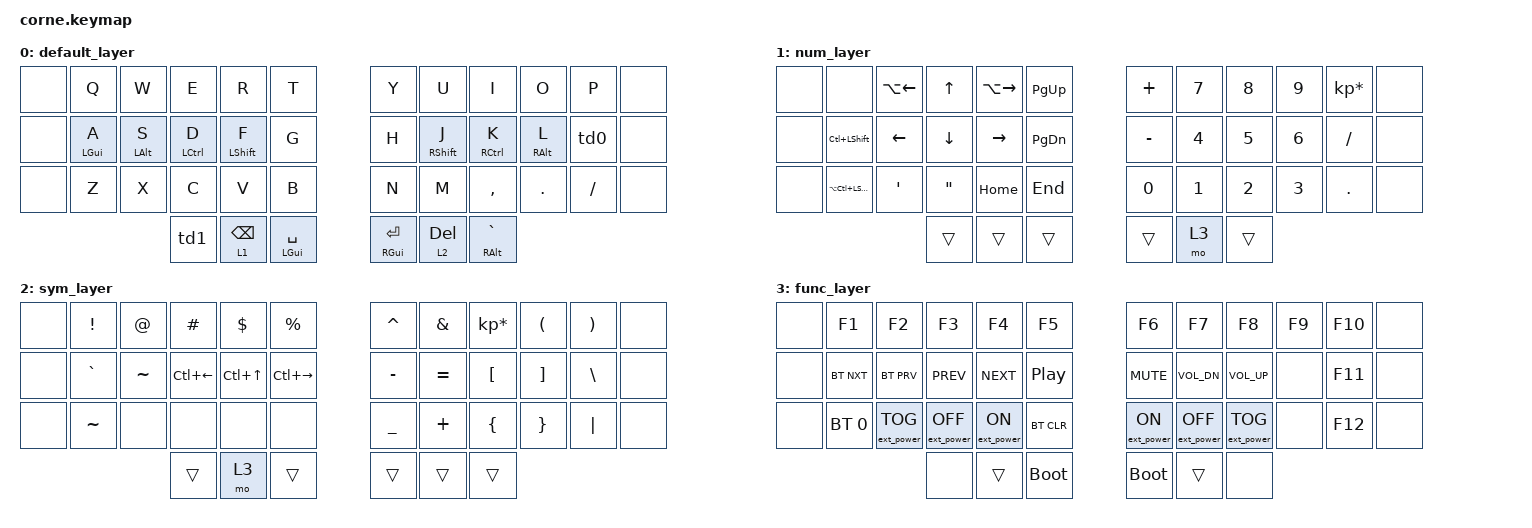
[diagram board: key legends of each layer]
/*
 * Copyright (c) 2020 The ZMK Contributors
 *
 * SPDX-License-Identifier: MIT
 */

#include <behaviors.dtsi>
#include <dt-bindings/zmk/bt.h>
#include <dt-bindings/zmk/ext_power.h>
#include <dt-bindings/zmk/keys.h>

// LAYERS

#define DEFAULT 0
#define NUM     1
#define SYM     2
#define FUNC    3

// MACROS

#define SUPER LC(LSHIFT)
#define SUPER2 LA(LC(LSHIFT))

&mt {
    tapping-term-ms = <200>;
    flavor = "tap-preferred";
};

/ {
    behaviors {
        hm: homerow_mods {
            compatible = "zmk,behavior-hold-tap";
            label = "HOMEROW_MODS";
            #binding-cells = <2>;
            tapping-term-ms = <200>;
            quick-tap-ms = <0>;
            flavor = "tap-preferred";
            bindings = <&kp>, <&kp>;
        };

        td0: tap_dance_0 {
            compatible = "zmk,behavior-tap-dance";
            label = "TAP_DANCE_0";
            #binding-cells = <0>;
            tapping-term-ms = <200>;
            bindings = <&hm RGUI SEMI>, <&kp SQT>;
        };

        td1: tap_dance_1 {
            compatible = "zmk,behavior-tap-dance";
            label = "TAP_DANCE_1";
            #binding-cells = <0>;
            tapping-term-ms = <200>;
            bindings = <&mt LCTRL TAB>, <&kp ESC>;
        };
    };

    combos {
        compatible = "zmk,combos";

        combo_cword {
            timeout-ms = <50>;
            key-positions = <16 19>;
            bindings = <&caps_word>;
        };

        combo_vimwq {
            timeout-ms = <50>;
            key-positions = <1 2>;
            bindings = <&vim_quit>;
        };
    };

    macros {
        vim_quit: vim_quit {
            label = "ZM_vim_quit";
            compatible = "zmk,behavior-macro";
            #binding-cells = <0>;
            bindings = <&macro_tap>, <&kp ESC &kp COLON &kp W &kp Q>;
        };
    };

    keymap {
        compatible = "zmk,keymap";

        default_layer {
            bindings = <
&none  &kp Q       &kp W       &kp E        &kp R            &kp T             &kp Y           &kp U         &kp I           &kp O       &kp P     &none
&none  &hm LGUI A  &hm LALT S  &hm LCTRL D  &hm LSHIFT F     &kp G             &kp H           &hm RSHIFT J  &hm RCTRL K     &hm RALT L  &td0      &none
&none  &kp Z       &kp X       &kp C        &kp V            &kp B             &kp N           &kp M         &kp COMMA       &kp DOT     &kp FSLH  &none
                               &td1         &lt 1 BACKSPACE  &mt LGUI SPACE    &mt RGUI ENTER  &lt 2 DELETE  &mt RALT GRAVE
            >;
        };

        num_layer {
            bindings = <
&none  &none       &kp LA(LEFT)      &kp UP             &kp LA(RIGHT)  &kp PG_UP    &kp PLUS   &kp N7  &kp N8  &kp N9  &kp KP_MULTIPLY  &none
&none  &kp SUPER   &kp LEFT          &kp DOWN           &kp RIGHT      &kp PG_DN    &kp MINUS  &kp N4  &kp N5  &kp N6  &kp SLASH        &none
&none  &kp SUPER2  &kp SINGLE_QUOTE  &kp DOUBLE_QUOTES  &kp HOME       &kp END      &kp N0     &kp N1  &kp N2  &kp N3  &kp DOT          &none
                                     &trans             &trans         &trans       &trans     &mo 3   &trans
            >;
        };

        sym_layer {
            bindings = <
&none  &kp EXCL   &kp AT     &kp HASH      &kp DLLR          &kp PRCNT        &kp CARET  &kp AMPS   &kp KP_MULTIPLY  &kp LPAR  &kp RPAR  &none
&none  &kp GRAVE  &kp TILDE  &kp LC(LEFT)  &kp LC(UP_ARROW)  &kp LC(RIGHT)    &kp MINUS  &kp EQUAL  &kp LBKT         &kp RBKT  &kp BSLH  &none
&none  &kp TILDE  &none      &none         &none             &none            &kp UNDER  &kp PLUS   &kp LBRC         &kp RBRC  &kp PIPE  &none
                             &trans        &mo 3             &trans           &trans     &trans     &trans
            >;
        };

        func_layer {
            bindings = <
&none  &kp F1        &kp F2             &kp F3             &kp F4            &kp F5              &kp F6            &kp F7             &kp F8             &kp F9  &kp F10  &none
&none  &bt BT_NXT    &bt BT_PRV         &kp C_PREV         &kp C_NEXT        &kp C_PLAY_PAUSE    &kp C_MUTE        &kp C_VOL_DN       &kp C_VOL_UP       &none   &kp F11  &none
&none  &bt BT_SEL 0  &ext_power EP_TOG  &ext_power EP_OFF  &ext_power EP_ON  &bt BT_CLR          &ext_power EP_ON  &ext_power EP_OFF  &ext_power EP_TOG  &none   &kp F12  &none
                                        &none              &trans            &bootloader         &bootloader       &trans             &none
            >;
        };
    };
};
